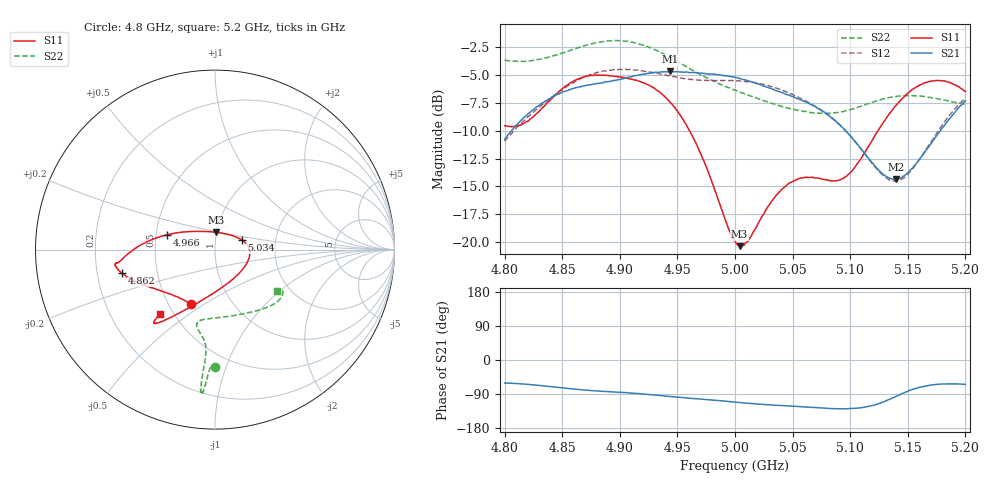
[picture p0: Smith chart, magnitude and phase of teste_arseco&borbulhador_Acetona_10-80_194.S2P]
! Network Analyzer HP8722D
! Hewlett-Packard
! Data name: Linha & Wilkinson
! Saver's name: Rodrigo Anjos
! Comments: Teste da utilização de aquisição
! continua pelo VNA HP8722D
! Time and date: 17/4/2025 15:58
!  Frequency  S11  S21  S12  S22
# HZ  S  MA R 50
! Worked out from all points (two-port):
!   401 points, 4.8 GHz to 5.2 GHz, reference 50 ohm
!   highest |S21| = -4.67 dB at 4.944 GHz (marker M1); lowest = -14.4 dB at 5.14 GHz (marker M2)
!   |S21| within 3 dB of the highest: 4.83 GHz to 5.067 GHz (236.1 MHz wide, 4.77 % of centre); 5.196545 GHz to end of sweep
!   lowest |S11| = -20.4 dB at 5.004 GHz (marker M3), VSWR 1.21, Z = 49.6 + j9.57 ohm
!   |S11| at or under -10 dB: 4.961 GHz to 5.124 GHz (163.4 MHz wide, 3.24 % of centre)
!   |S22| runs from -8.5 to -1.9 dB; largest |S21 - S12| = 0.87
!   S11 on the Smith chart (normalised r, x): 4.8 GHz: 0.65, -0.44; 4.862 GHz: 0.31, -0.11; 4.966 GHz: 0.57, +0.10; 5.034 GHz: 1.34, +0.15; 5.2 GHz: 0.42, -0.39
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4.8e9  0.3331 -113.4  0.2894 -60.8  0.2838 -175.0  0.656 -90.1
4.819e9  0.3474 -133.4  0.3701 -64.0  0.3596 -173.6  0.6511 -91.6
4.862e9  0.5359 -165.8  0.495 -77.1  0.5285 -176.8  0.7419 -93.9
4.867e9  0.5483 -167.7  0.5016 -78.5  0.5442 -177.8  0.7547 -94.1
4.899e9  0.5519 -172.2  0.5359 -85.1  0.5953 175.5  0.8021 -95.4
4.934e9  0.4746 -178.1  0.5781 -93.7  0.5722 171.9  0.7157 -95.8
4.944e9  0.4239 177.3  0.5838 -96.3  0.5565 171.9  0.6749 -95.5
4.966e9  0.2787 162.6  0.5756 -102.1  0.5349 173.8  0.5804 -94.9
5e9  0.1013 101.1  0.5492 -111.0  0.5319 176.1  0.4819 -99.1
5.004e9  0.09579 87.0  0.5442 -112.1  0.5296 176.1  0.4728 -100.0
5.012e9  0.1024 60.4  0.5285 -114.2  0.5254 175.8  0.4568 -101.8
5.034e9  0.1575 20.3  0.4826 -119.2  0.4953 174.8  0.4165 -103.4
5.048e9  0.1851 5.9  0.455 -121.5  0.4644 174.1  0.3976 -100.2
5.067e9  0.1955 -14.2  0.4122 -124.8  0.4147 173.6  0.3811 -90.6
5.086e9  0.1885 -44.4  0.3559 -128.4  0.3537 173.6  0.3806 -76.3
5.097e9  0.198 -66.7  0.3122 -128.7  0.3133 174.6  0.3898 -67.1
5.134e9  0.3762 -116.5  0.1936 -104.0  0.1901 -157.0  0.4461 -43.0
5.14e9  0.4126 -120.1  0.1912 -95.6  0.1884 -147.5  0.4507 -40.4
5.152e9  0.4754 -124.9  0.2098 -80.0  0.2067 -129.2  0.4547 -36.1
5.17e9  0.5282 -128.9  0.276 -66.1  0.2818 -112.4  0.4461 -32.0
5.184e9  0.5251 -130.2  0.3467 -63.0  0.3584 -107.3  0.4318 -31.0
5.2e9  0.4736 -130.6  0.4308 -64.4  0.4435 -106.5  0.4149 -33.4
